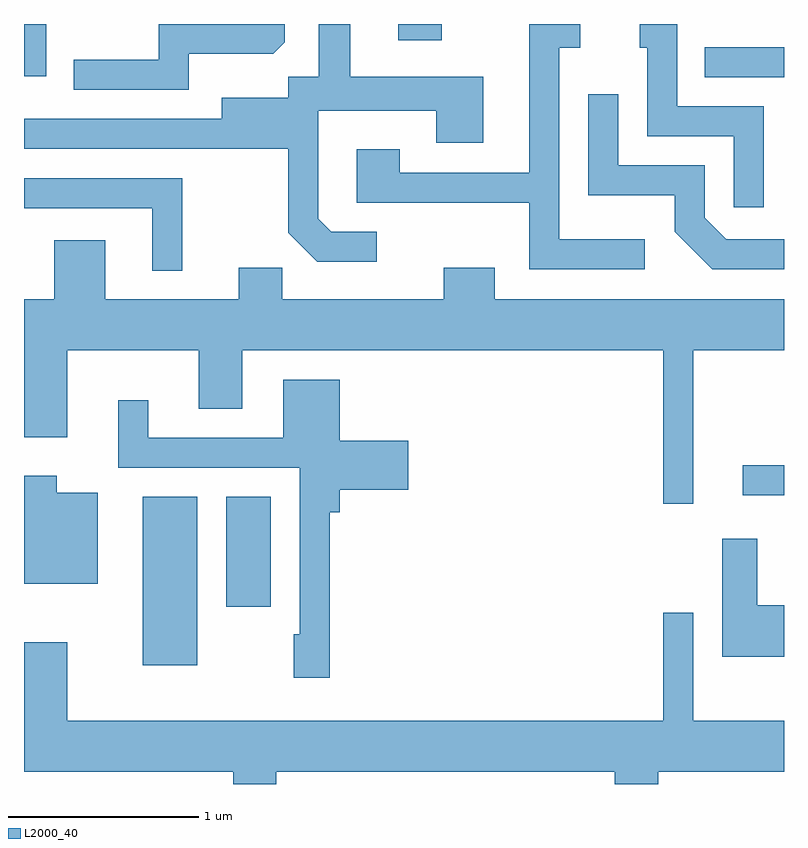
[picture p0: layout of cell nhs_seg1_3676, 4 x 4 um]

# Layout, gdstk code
import gdstk
lib = gdstk.Library(unit=1e-6, precision=1e-09)
def R(c, l, rs):  # rectangles x0, y0, x1, y1
    for r in rs: c.add(gdstk.rectangle(r[:2], r[2:], *l))
def P(c, l, *ps):  # polygons
    for p in ps: c.add(gdstk.Polygon(p, *l))
L2000_40 = (2000, 40)

nhs_seg1_3676 = lib.new_cell('nhs_seg1_3676')
R(nhs_seg1_3676, L2000_40, [(296.236,922.336,296.524,923.224), (296.676,922.646,296.909,923.224), (299.393,923.231,299.611,923.389), (299.193,925.431,299.611,925.589), (295.611,925.436,295.729,925.712), (297.581,925.626,297.809,925.712)])
P(nhs_seg1_3676, L2000_40, [(297.468,924.619),(297.227,924.619),(297.159,924.687),(297.159,925.256),(297.781,925.256),(297.781,925.086),(298.029,925.086),(298.029,925.434),(297.329,925.434),(297.329,925.712),(297.161,925.712),(297.161,925.434),(297.001,925.434),(297.001,925.324),(296.651,925.324),(296.651,925.214),(295.611,925.214),(295.611,925.056),(297.001,925.056),(297.001,924.614),(297.154,924.461),(297.468,924.461)],
  [(298.878,924.579),(298.429,924.579),(298.429,925.586),(298.539,925.586),(298.539,925.712),(298.271,925.712),(298.271,924.929),(297.589,924.929),(297.589,925.054),(297.361,925.054),(297.361,924.771),(298.271,924.771),(298.271,924.421),(298.878,924.421)],
  [(299.504,925.279),(299.049,925.279),(299.049,925.712),(298.851,925.712),(298.851,925.586),(298.891,925.586),(298.891,925.121),(299.346,925.121),(299.346,924.748),(299.504,924.748)],
  [(296.479,925.556),(296.924,925.556),(296.984,925.617),(296.984,925.712),(296.321,925.712),(296.321,925.524),(295.873,925.524),(295.873,925.366),(296.479,925.366)],
  [(299.611,924.579),(299.307,924.579),(299.194,924.692),(299.194,924.969),(298.739,924.969),(298.739,925.343),(298.581,925.343),(298.581,924.811),(299.036,924.811),(299.036,924.619),(299.234,924.421),(299.611,924.421)],
  [(296.444,924.899),(295.611,924.899),(295.611,924.741),(296.286,924.741),(296.286,924.413),(296.444,924.413)],
  [(297.821,924.429),(297.821,924.264),(296.969,924.264),(296.969,924.429),(296.741,924.429),(296.741,924.264),(296.039,924.264),(296.039,924.574),(295.771,924.574),(295.771,924.264),(295.611,924.264),(295.611,923.536),(295.839,923.536),(295.839,923.996),(296.531,923.996),(296.531,923.686),(296.759,923.686),(296.759,923.996),(298.976,923.996),(298.976,923.188),(299.134,923.188),(299.134,923.996),(299.611,923.996),(299.611,924.264),(298.089,924.264),(298.089,924.429)],
  [(297.219,923.141),(297.274,923.141),(297.274,923.261),(297.634,923.261),(297.634,923.519),(297.274,923.519),(297.274,923.839),(296.976,923.839),(296.976,923.534),(296.264,923.534),(296.264,923.733),(296.106,923.733),(296.106,923.376),(297.061,923.376),(297.061,922.499),(297.031,922.499),(297.031,922.271),(297.219,922.271)],
  [(295.999,923.244),(295.784,923.244),(295.784,923.334),(295.611,923.334),(295.611,922.766),(295.999,922.766)],
  [(299.611,922.654),(299.469,922.654),(299.469,923.004),(299.286,923.004),(299.286,922.381),(299.611,922.381)],
  [(296.939,921.776),(298.721,921.776),(298.721,921.712),(298.949,921.712),(298.949,921.776),(299.611,921.776),(299.611,922.044),(299.134,922.044),(299.134,922.613),(298.976,922.613),(298.976,922.044),(295.839,922.044),(295.839,922.459),(295.611,922.459),(295.611,921.776),(296.711,921.776),(296.711,921.712),(296.939,921.712)])

lib.write_gds('nhs_seg1_3676.gds')
